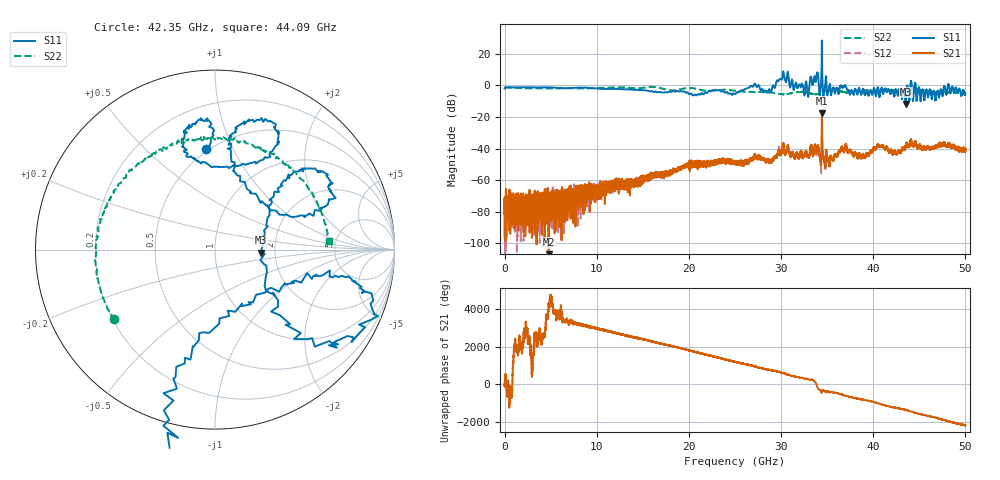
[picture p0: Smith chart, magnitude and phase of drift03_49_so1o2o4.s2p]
!Created with skrf (http://scikit-rf.org).
# Hz S RI R 50.0
!freq ReS11 ImS11 ReS21 ImS21 ReS12 ImS12 ReS22 ImS22
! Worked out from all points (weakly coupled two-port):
!   10000 points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, 5.3 MHz to 50 GHz, reference 50 ohm
!   highest |S21| = -17.76 dB at 34.43 GHz (marker M1); lowest = -111.0 dB at 4.79 GHz (marker M2)
!   lowest |S11| = -11.9 dB at 43.52 GHz (marker M3), VSWR 1.69, Z = 84.2 - j3.1 ohm
!   |S11| at or under -10 dB: 43.49091 GHz to 43.54568 GHz (54.77 MHz wide, 0.126 % of centre); 44.30726 GHz to 44.31593 GHz (8.663 MHz wide, 0.0196 % of centre); 45.13788 GHz to 45.14222 GHz (4.335 MHz wide, 0.0096 % of centre)
!   |S22| runs from -5.8 to -1.1 dB; largest |S21 - S12| = 0.027
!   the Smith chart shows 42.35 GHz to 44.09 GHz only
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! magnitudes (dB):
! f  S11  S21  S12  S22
! 5.3 MHz  -2.1  -78.4  -81.5  -1.3
! 4.79 GHz  -1.4  -111.0  -77.5  -2.1
! 8.34 GHz  -1.5  -64.9  -66.1  -2.1
! 16.67 GHz  -4.4  -56.8  -57.7  -1.5
! 20.19 GHz  -5.3  -50.1  -50.7  -1.7
! 25.01 GHz  -5.5  -48.6  -48.9  -3.5
! 27.02 GHz  -0.3  -45.3  -45.7  -4.2
! 28.72 GHz  -2.5  -47.8  -47.8  -4.5
! 30.14 GHz  4.5  -39.7  -40.2  -5.7
! 32.74 GHz  2.0  -41.5  -42.5  -4.6
! 33.34 GHz  2.5  -39.7  -40.1  -5.6
! 33.82 GHz  4.0  -41.6  -42.3  -5.7
! 34.43 GHz  28.3  -17.8  -19.2  -4.6
! 35.34 GHz  -0.5  -46.1  -45.4  -3.3
! 36.85 GHz  -0.6  -41.6  -41.5  -4.3
! 38.87 GHz  -2.4  -44.0  -44.0  -3.2
! 40.62 GHz  -5.6  -38.3  -38.5  -4.0
! 41.67 GHz  -3.0  -42.2  -42.2  -3.3
! 43.52 GHz  -11.9  -37.9  -38.6  -4.1
! 46.57 GHz  -3.6  -39.4  -39.4  -4.5
! 47.53 GHz  -6.9  -37.9  -37.4  -4.7
! 50 GHz  -5.2  -41.3  -40.0  -4.6
